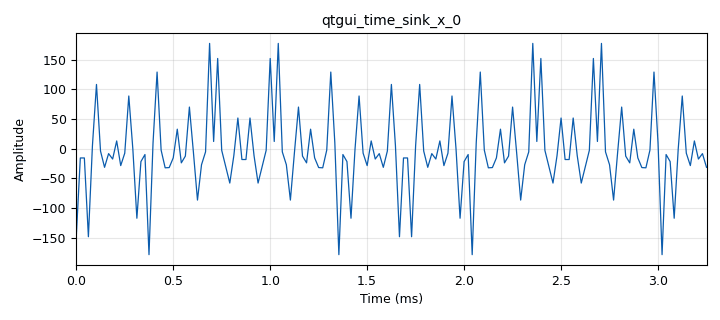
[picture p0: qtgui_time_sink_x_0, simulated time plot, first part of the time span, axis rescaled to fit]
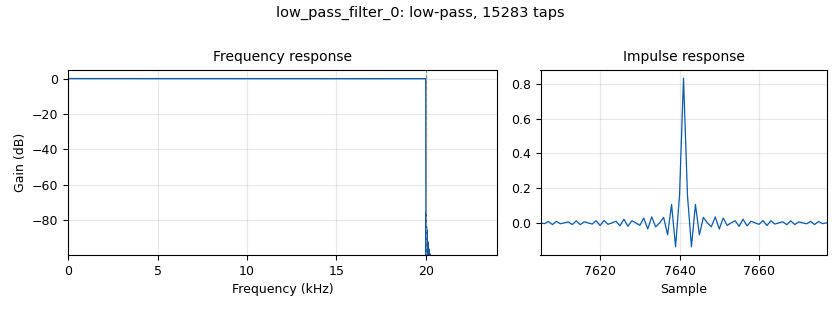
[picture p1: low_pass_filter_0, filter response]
<?xml version='1.0' encoding='utf-8'?>
<?grc format='1' created='3.7.13'?>
<flow_graph>
<block>
<key>options</key>
<param><key>id</key><value>X_FSK</value></param>
<param><key>generate_options</key><value>qt_gui</value></param>
<param><key>title</key><value>X_FSK</value></param>
</block>
<block>
<key>variable</key>
<param><key>id</key><value>samp_rate</value></param>
<param><key>value</key><value>48e3</value></param>
</block>
<block>
<key>analog_const_source_x</key>
<param><key>id</key><value>analog_const_source_x_0</value></param>
<param><key>const</key><value>0</value></param>
<param><key>type</key><value>float</value></param>
</block>
<block>
<key>analog_quadrature_demod_cf</key>
<param><key>id</key><value>analog_quadrature_demod_cf_0</value></param>
<param><key>gain</key><value>samp_rate/(2*math.pi*1e3/8.0)</value></param>
</block>
<block>
<key>analog_sig_source_x</key>
<param><key>id</key><value>analog_sig_source_x_0</value></param>
<param><key>amp</key><value>1</value></param>
<param><key>freq</key><value>1500</value></param>
<param><key>offset</key><value>0</value></param>
<param><key>type</key><value>complex</value></param>
<param><key>samp_rate</key><value>samp_rate</value></param>
<param><key>waveform</key><value>analog.GR_COS_WAVE</value></param>
</block>
<block>
<key>analog_sig_source_x</key>
<param><key>id</key><value>analog_sig_source_x_1</value></param>
<param><key>amp</key><value>1</value></param>
<param><key>freq</key><value>9600</value></param>
<param><key>offset</key><value>0</value></param>
<param><key>type</key><value>float</value></param>
<param><key>samp_rate</key><value>samp_rate</value></param>
<param><key>waveform</key><value>analog.GR_SQR_WAVE</value></param>
</block>
<block>
<key>blocks_add_const_vxx</key>
<param><key>id</key><value>blocks_add_const_vxx_0</value></param>
<param><key>const</key><value>1</value></param>
<param><key>type</key><value>float</value></param>
</block>
<block>
<key>blocks_add_xx</key>
<param><key>id</key><value>blocks_add_xx_0</value></param>
<param><key>type</key><value>complex</value></param>
</block>
<block>
<key>blocks_complex_to_float</key>
<param><key>id</key><value>blocks_complex_to_float_0</value></param>
</block>
<block>
<key>blocks_file_sink</key>
<param><key>id</key><value>blocks_file_sink_0</value></param>
<param><key>_enabled</key><value>0</value></param>
<param><key>file</key><value>C:\Users\buer9\Google Drive\ELSYS\Student_defined_project\Gnu_radio\Ground_Station\file_sink\output.bin</value></param>
<param><key>type</key><value>complex</value></param>
</block>
<block>
<key>blocks_file_sink</key>
<param><key>id</key><value>blocks_file_sink_0_0</value></param>
<param><key>_enabled</key><value>0</value></param>
<param><key>file</key><value>C:\Users\buer9\Google Drive\ELSYS\Student_defined_project\Gnu_radio\Ground_Station\file_sink\complex_binary_feed.bin</value></param>
<param><key>type</key><value>float</value></param>
</block>
<block>
<key>blocks_float_to_complex</key>
<param><key>id</key><value>blocks_float_to_complex_0</value></param>
</block>
<block>
<key>blocks_float_to_complex</key>
<param><key>id</key><value>blocks_float_to_complex_0_0</value></param>
</block>
<block>
<key>blocks_float_to_complex</key>
<param><key>id</key><value>blocks_float_to_complex_0_0_0</value></param>
</block>
<block>
<key>blocks_multiply_const_vxx</key>
<param><key>id</key><value>blocks_multiply_const_vxx_0</value></param>
<param><key>const</key><value>-1</value></param>
<param><key>type</key><value>float</value></param>
</block>
<block>
<key>blocks_multiply_const_vxx</key>
<param><key>id</key><value>blocks_multiply_const_vxx_0_1_0</value></param>
<param><key>const</key><value>-1</value></param>
<param><key>type</key><value>float</value></param>
</block>
<block>
<key>blocks_multiply_xx</key>
<param><key>id</key><value>blocks_multiply_xx_0</value></param>
<param><key>type</key><value>complex</value></param>
</block>
<block>
<key>blocks_multiply_xx</key>
<param><key>id</key><value>blocks_multiply_xx_0_0</value></param>
<param><key>type</key><value>complex</value></param>
</block>
<block>
<key>blocks_throttle</key>
<param><key>id</key><value>blocks_throttle_0</value></param>
<param><key>samples_per_second</key><value>samp_rate</value></param>
<param><key>type</key><value>complex</value></param>
</block>
<block>
<key>low_pass_filter</key>
<param><key>id</key><value>low_pass_filter_0</value></param>
<param><key>beta</key><value>6.76</value></param>
<param><key>cutoff_freq</key><value>20e3</value></param>
<param><key>decim</key><value>1</value></param>
<param><key>type</key><value>fir_filter_ccf</value></param>
<param><key>gain</key><value>1</value></param>
<param><key>samp_rate</key><value>samp_rate</value></param>
<param><key>width</key><value>10</value></param>
<param><key>win</key><value>firdes.WIN_KAISER</value></param>
</block>
<block>
<key>qtgui_sink_x</key>
<param><key>id</key><value>qtgui_sink_x_0</value></param>
<param><key>bw</key><value>samp_rate</value></param>
<param><key>fc</key><value>0</value></param>
<param><key>freqchangevar</key><value>None</value></param>
<param><key>_enabled</key><value>0</value></param>
<param><key>fftsize</key><value>1024</value></param>
<param><key>showports</key><value>True</value></param>
<param><key>type</key><value>complex</value></param>
<param><key>wintype</key><value>firdes.WIN_BLACKMAN_hARRIS</value></param>
</block>
<block>
<key>qtgui_time_sink_x</key>
<param><key>id</key><value>qtgui_time_sink_x_0</value></param>
<param><key>color1</key><value>"blue"</value></param>
<param><key>label1</key><value></value></param>
<param><key>size</key><value>1024</value></param>
<param><key>srate</key><value>samp_rate</value></param>
<param><key>type</key><value>float</value></param>
</block>
<connection><source_block_id>analog_const_source_x_0</source_block_id><sink_block_id>blocks_float_to_complex_0_0</sink_block_id><source_key>0</source_key><sink_key>1</sink_key></connection>
<connection><source_block_id>analog_const_source_x_0</source_block_id><sink_block_id>blocks_float_to_complex_0_0_0</sink_block_id><source_key>0</source_key><sink_key>1</sink_key></connection>
<connection><source_block_id>analog_quadrature_demod_cf_0</source_block_id><sink_block_id>qtgui_time_sink_x_0</sink_block_id><source_key>0</source_key><sink_key>0</sink_key></connection>
<connection><source_block_id>analog_sig_source_x_0</source_block_id><sink_block_id>blocks_complex_to_float_0</sink_block_id><source_key>0</source_key><sink_key>0</sink_key></connection>
<connection><source_block_id>analog_sig_source_x_0</source_block_id><sink_block_id>blocks_multiply_xx_0</sink_block_id><source_key>0</source_key><sink_key>0</sink_key></connection>
<connection><source_block_id>analog_sig_source_x_1</source_block_id><sink_block_id>blocks_file_sink_0_0</sink_block_id><source_key>0</source_key><sink_key>0</sink_key></connection>
<connection><source_block_id>analog_sig_source_x_1</source_block_id><sink_block_id>blocks_float_to_complex_0_0</sink_block_id><source_key>0</source_key><sink_key>0</sink_key></connection>
<connection><source_block_id>analog_sig_source_x_1</source_block_id><sink_block_id>blocks_multiply_const_vxx_0</sink_block_id><source_key>0</source_key><sink_key>0</sink_key></connection>
<connection><source_block_id>blocks_add_const_vxx_0</source_block_id><sink_block_id>blocks_float_to_complex_0_0_0</sink_block_id><source_key>0</source_key><sink_key>0</sink_key></connection>
<connection><source_block_id>blocks_add_xx_0</source_block_id><sink_block_id>low_pass_filter_0</sink_block_id><source_key>0</source_key><sink_key>0</sink_key></connection>
<connection><source_block_id>blocks_complex_to_float_0</source_block_id><sink_block_id>blocks_multiply_const_vxx_0_1_0</sink_block_id><source_key>1</source_key><sink_key>0</sink_key></connection>
<connection><source_block_id>blocks_complex_to_float_0</source_block_id><sink_block_id>blocks_float_to_complex_0</sink_block_id><source_key>0</source_key><sink_key>0</sink_key></connection>
<connection><source_block_id>blocks_float_to_complex_0</source_block_id><sink_block_id>blocks_multiply_xx_0_0</sink_block_id><source_key>0</source_key><sink_key>1</sink_key></connection>
<connection><source_block_id>blocks_float_to_complex_0_0</source_block_id><sink_block_id>blocks_multiply_xx_0</sink_block_id><source_key>0</source_key><sink_key>1</sink_key></connection>
<connection><source_block_id>blocks_float_to_complex_0_0_0</source_block_id><sink_block_id>blocks_multiply_xx_0_0</sink_block_id><source_key>0</source_key><sink_key>0</sink_key></connection>
<connection><source_block_id>blocks_multiply_const_vxx_0</source_block_id><sink_block_id>blocks_add_const_vxx_0</sink_block_id><source_key>0</source_key><sink_key>0</sink_key></connection>
<connection><source_block_id>blocks_multiply_const_vxx_0_1_0</source_block_id><sink_block_id>blocks_float_to_complex_0</sink_block_id><source_key>0</source_key><sink_key>1</sink_key></connection>
<connection><source_block_id>blocks_multiply_xx_0</source_block_id><sink_block_id>blocks_add_xx_0</sink_block_id><source_key>0</source_key><sink_key>0</sink_key></connection>
<connection><source_block_id>blocks_multiply_xx_0_0</source_block_id><sink_block_id>blocks_add_xx_0</sink_block_id><source_key>0</source_key><sink_key>1</sink_key></connection>
<connection><source_block_id>blocks_throttle_0</source_block_id><sink_block_id>analog_quadrature_demod_cf_0</sink_block_id><source_key>0</source_key><sink_key>0</sink_key></connection>
<connection><source_block_id>blocks_throttle_0</source_block_id><sink_block_id>blocks_file_sink_0</sink_block_id><source_key>0</source_key><sink_key>0</sink_key></connection>
<connection><source_block_id>blocks_throttle_0</source_block_id><sink_block_id>qtgui_sink_x_0</sink_block_id><source_key>0</source_key><sink_key>0</sink_key></connection>
<connection><source_block_id>low_pass_filter_0</source_block_id><sink_block_id>blocks_throttle_0</sink_block_id><source_key>0</source_key><sink_key>0</sink_key></connection>
</flow_graph>
